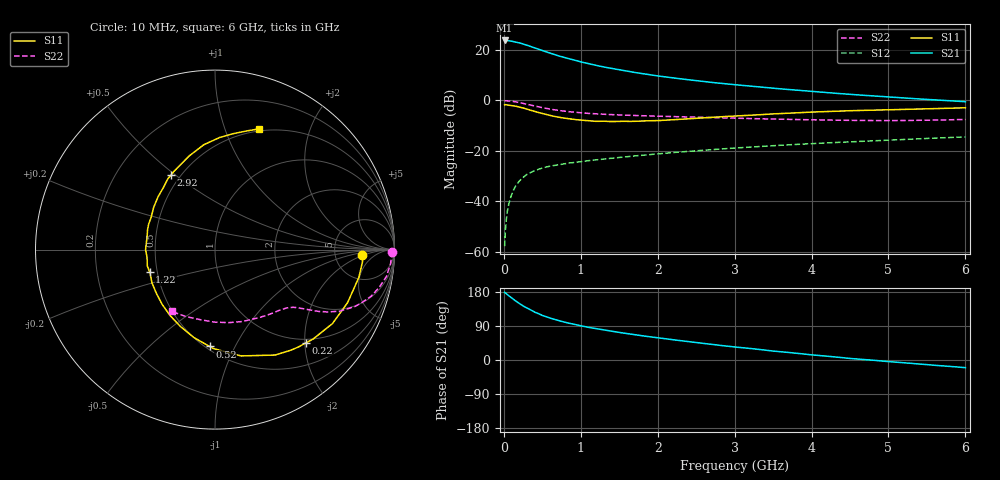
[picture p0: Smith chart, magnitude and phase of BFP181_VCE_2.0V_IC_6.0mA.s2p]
! Infineon Technologies  Discrete & RF Semiconductors
! BFP181
! VCE = 2.0 V,  IC =  6.0 mA
! Common Emitter S-Parameters:  Jan 2016
# GHz  S  MA  R  50
!  f  S11  S21  S12  S22
! GHz  MAG  ANG  MAG  ANG  MAG  ANG  MAG  ANG
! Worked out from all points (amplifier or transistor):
!   210 points, 10 MHz to 6 GHz, reference 50 ohm
!   highest |S21| = 23.7 dB at 10 MHz (marker M1)
!   |S21| within 3 dB of that: start of sweep to 409.3 MHz
!   unconditionally stable (mu >= 1): 1.433 GHz to end of sweep
!   at 185 MHz: K = 0.20, MSG = 27.8 dB, |S12| = -32.6 dB
!   at 1.52 GHz: K = 1.02, MAG = 16.4 dB, |S12| = -22.5 dB
!   at 6 GHz: K = 1.03, MAG = 6.0 dB, |S12| = -14.5 dB
!   S11 on the Smith chart (normalised r, x): 10 MHz: 9.69, -1.85; 220 MHz: 0.92, -2.02; 520 MHz: 0.52, -0.80; 1.22 GHz: 0.45, -0.13; 2.92 GHz: 0.45, +0.48; 6 GHz: 0.48, +1.31
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0.01  0.819 -2.2  15.39 178.4  0.0013 85.8  0.9873 -0.7
0.045  0.8171 -9.8  15.28 172.8  0.0063 84.3  0.9819 -4.1
0.1  0.7957 -21.8  14.9 164.0  0.0134 77.3  0.9671 -8.9
0.13  0.7793 -28.0  14.57 159.4  0.0173 74.4  0.9499 -11.3
0.195  0.7421 -41.3  13.92 149.9  0.0246 69.1  0.9121 -16.1
0.22  0.7255 -45.8  13.55 146.7  0.027 66.6  0.8946 -17.7
0.26  0.7015 -53.1  12.97 141.6  0.0307 63.2  0.8664 -20.2
0.3  0.6763 -60.3  12.42 137.2  0.0342 60.4  0.8393 -22.3
0.4  0.61 -76.2  11.03 126.4  0.0407 54.8  0.7748 -26.3
0.52  0.5403 -93.2  9.482 116.4  0.0466 50.2  0.7095 -29.3
0.6  0.5048 -103.2  8.674 110.7  0.05 47.6  0.673 -30.8
0.7  0.4699 -114.2  7.689 104.7  0.0526 46.0  0.6358 -32.1
0.82  0.4389 -126.4  6.862 98.4  0.0568 44.4  0.6052 -33.3
1.02  0.4049 -144.9  5.702 89.5  0.0617 43.1  0.5658 -35.0
1.22  0.385 -161.0  4.87 82.1  0.067 42.1  0.5395 -36.6
1.5  0.3869 -180.0  4.035 72.6  0.0741 41.7  0.5151 -39.1
2.02  0.3995 152.7  3.026 58.1  0.0878 40.2  0.4862 -45.1
2.92  0.4833 120.3  2.104 36.2  0.1119 36.5  0.4476 -58.6
3.1  0.4988 115.4  1.983 32.5  0.1167 35.5  0.44 -61.7
4.1  0.5941 94.3  1.469 11.9  0.1419 29.4  0.4107 -81.6
5.1  0.6582 80.0  1.143 -5.7  0.1656 23.0  0.3992 -104.2
6  0.715 70.1  0.944 -20.2  0.1894 16.6  0.4201 -125.1
